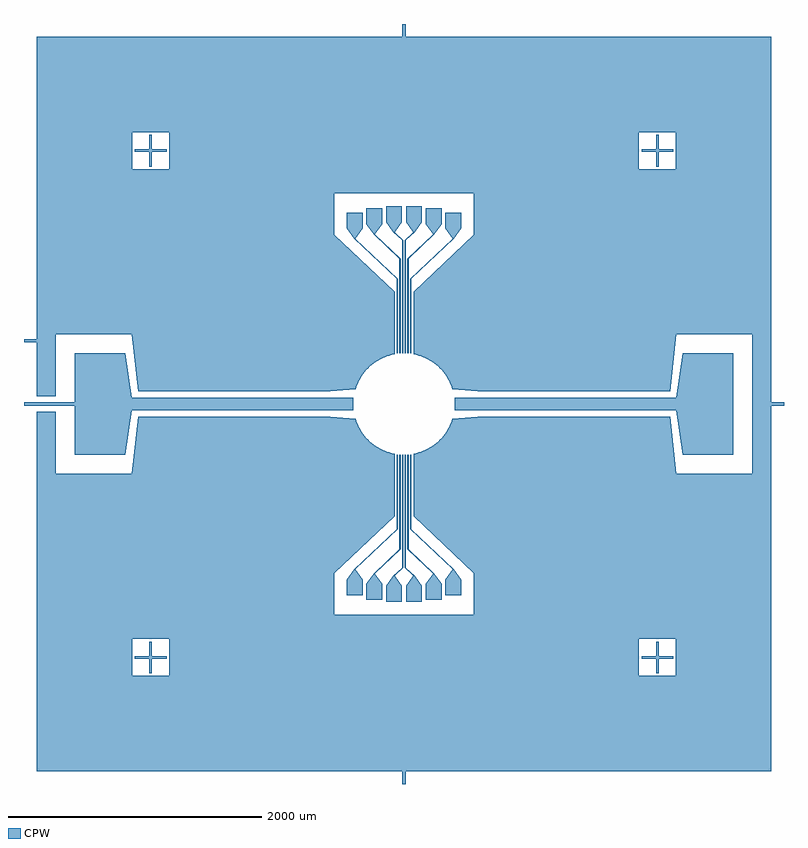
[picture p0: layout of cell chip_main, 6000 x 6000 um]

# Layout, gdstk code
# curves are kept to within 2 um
import gdstk
lib = gdstk.Library(unit=1e-6, precision=1e-08)
def R(c, l, rs):  # rectangles x0, y0, x1, y1
    for r in rs: c.add(gdstk.rectangle(r[:2], r[2:], *l))
def P(c, l, *ps):  # polygons
    for p in ps: c.add(gdstk.Polygon(p, *l))
CPW = (1, 0)

chip_main = lib.new_cell('chip_main')
R(chip_main, CPW, [(2987.5,0,3012.5,150), (0,2987.5,400,3012.5), (5850,2987.5,6000,3012.5), (0,3487.5,150,3512.5), (2987.5,5850,3012.5,6000)])
P(chip_main, CPW, [(990,875),(990,990),(875,990),(875,1010),(990,1010),(990,1125),(1010,1125),(1010,1010),(1125,1010),(1125,990),(1010,990),(1010,875)],
  [(4990,875),(4990,990),(4875,990),(4875,1010),(4990,1010),(4990,1125),(5010,1125),(5010,1010),(5125,1010),(5125,990),(5010,990),(5010,875)],
  [(2549.27,1488.61),(2549.27,1613.61),(2606.77,1693.61),(2941.43,2010.65),(2941.43,2600),(2951.43,2600),(2951.43,2010.65),(2616.77,1693.61),(2674.27,1613.61),(2674.27,1488.61)],
  [(2702.85,1455.97),(2702.85,1580.97),(2760.35,1660.97),(2962.86,1852.82),(2962.86,2600),(2972.86,2600),(2972.86,1852.82),(2770.35,1660.97),(2827.85,1580.97),(2827.85,1455.97)],
  [(2859,1439.56),(2859,1564.56),(2916.5,1644.56),(2984.29,1708.78),(2984.29,2600),(2994.29,2600),(2994.29,1708.78),(2926.5,1644.56),(2984,1564.56),(2984,1439.56)],
  [(3016,1439.56),(3016,1564.56),(3073.5,1644.56),(3005.71,1708.78),(3005.71,2600),(3015.71,2600),(3015.71,1708.78),(3083.5,1644.56),(3141,1564.56),(3141,1439.56)],
  [(3172.15,1455.97),(3172.15,1580.97),(3229.65,1660.97),(3027.14,1852.82),(3027.14,2600),(3037.14,2600),(3037.14,1852.82),(3239.65,1660.97),(3297.15,1580.97),(3297.15,1455.97)],
  [(3325.73,1488.61),(3325.73,1613.61),(3383.23,1693.61),(3048.57,2010.65),(3048.57,2600),(3058.57,2600),(3058.57,2010.65),(3393.23,1693.61),(3450.73,1613.61),(3450.73,1488.61)],
  [(400,2600),(400,3400),(800,3400),(850,3050),(2600,3050),(2600,2950),(850,2950),(800,2600)],
  [(5200,2600),(5150,2950),(3400,2950),(3400,3050),(5150,3050),(5200,3400),(5600,3400),(5600,2600)],
  [(2941.43,3400),(2941.43,3989.35),(2606.77,4306.39),(2549.27,4386.39),(2549.27,4511.39),(2674.27,4511.39),(2674.27,4386.39),(2616.77,4306.39),(2951.43,3989.35),(2951.43,3400)],
  [(3048.57,3400),(3048.57,3989.35),(3383.23,4306.39),(3325.73,4386.39),(3325.73,4511.39),(3450.73,4511.39),(3450.73,4386.39),(3393.23,4306.39),(3058.57,3989.35),(3058.57,3400)],
  [(2962.86,3400),(2962.86,4147.18),(2760.35,4339.03),(2702.85,4419.03),(2702.85,4544.03),(2827.85,4544.03),(2827.85,4419.03),(2770.35,4339.03),(2972.86,4147.18),(2972.86,3400)],
  [(3027.14,3400),(3027.14,4147.18),(3229.65,4339.03),(3172.15,4419.03),(3172.15,4544.03),(3297.15,4544.03),(3297.15,4419.03),(3239.65,4339.03),(3037.14,4147.18),(3037.14,3400)],
  [(2984.29,3400),(2984.29,4291.22),(2916.5,4355.44),(2859,4435.44),(2859,4560.44),(2984,4560.44),(2984,4435.44),(2926.5,4355.44),(2994.29,4291.22),(2994.29,3400)],
  [(3005.71,3400),(3005.71,4291.22),(3073.5,4355.44),(3016,4435.44),(3016,4560.44),(3141,4560.44),(3141,4435.44),(3083.5,4355.44),(3015.71,4291.22),(3015.71,3400)],
  [(990,4875),(990,4990),(875,4990),(875,5010),(990,5010),(990,5125),(1010,5125),(1010,5010),(1125,5010),(1125,4990),(1010,4990),(1010,4875)],
  [(4990,4875),(4990,4990),(4875,4990),(4875,5010),(4990,5010),(4990,5125),(5010,5125),(5010,5010),(5125,5010),(5125,4990),(5010,4990),(5010,4875)],
  [(100,100),(100,1145),(855,1145),(855,855),(1145,855),(1145,1145),(4855,1145),(4855,855),(5145,855),(5145,1145),(100,1145),(100,2937.5),(250,2937.5),(250,2450),(850,2450),(900,2900),(2417.65,2900),(2617.65,2882.59),(2638.4,2828.98),(2667.41,2777.77),(2690.8,2746.24),(2731.38,2703.62),(2777.77,2667.41),(2828.98,2638.4),(2883.89,2617.22),(2925,2607.16),(2925,2112.5),(2450,1662.5),(2450,1337.5),(3550,1337.5),(3550,1662.5),(3075,2112.5),(3075,2607.16),(3116.11,2617.22),(3171.02,2638.4),(3222.23,2667.41),(3268.62,2703.62),(3309.2,2746.24),(3332.59,2777.77),(3361.6,2828.98),(3382.35,2882.59),(3582.35,2900),(5100,2900),(5150,2450),(5750,2450),(5750,3550),(5150,3550),(5100,3100),(3582.35,3100),(3382.35,3117.41),(3361.6,3171.02),(3332.59,3222.23),(3309.2,3253.76),(3268.62,3296.38),(3222.23,3332.59),(3171.02,3361.6),(3116.11,3382.78),(3075,3392.84),(3075,3887.5),(3550,4337.5),(3550,4662.5),(2450,4662.5),(2450,4337.5),(2925,3887.5),(2925,3392.84),(2883.89,3382.78),(2828.98,3361.6),(2777.77,3332.59),(2731.38,3296.38),(2690.8,3253.76),(2667.41,3222.23),(2638.4,3171.02),(2617.65,3117.41),(2417.65,3100),(900,3100),(850,3550),(250,3550),(250,3062.5),(100,3062.5),(100,5145),(855,5145),(855,4855),(1145,4855),(1145,5145),(4855,5145),(4855,4855),(5145,4855),(5145,5145),(100,5145),(100,5900),(5900,5900),(5900,100)])

lib.write_gds('chip_main.gds')
